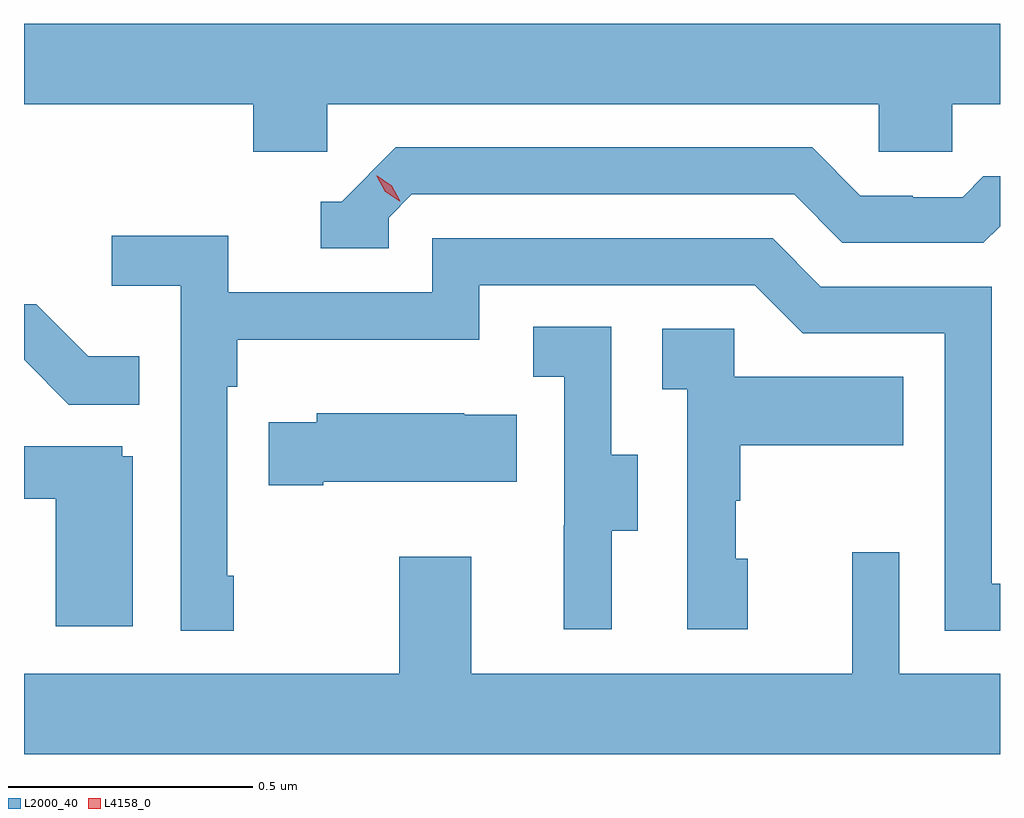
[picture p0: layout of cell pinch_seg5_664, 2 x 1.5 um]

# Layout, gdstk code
import gdstk
lib = gdstk.Library(unit=1e-6, precision=1e-09)
def P(c, l, *ps):  # polygons
    for p in ps: c.add(gdstk.Polygon(p, *l))
L2000_40 = (2000, 40)
L4158_0 = (4158, 0)

pinch_seg5_664 = lib.new_cell('pinch_seg5_664')
P(pinch_seg5_664, L2000_40, [(1067.664,847.436),(1068.795,847.436),(1068.795,847.338),(1068.945,847.338),(1068.945,847.436),(1069.043,847.436),(1069.043,847.6),(1067.043,847.6),(1067.043,847.436),(1067.513,847.436),(1067.513,847.338),(1067.664,847.338)],
  [(1067.79,847.203),(1067.838,847.251),(1068.621,847.251),(1068.72,847.152),(1069.009,847.152),(1069.043,847.186),(1069.043,847.288),(1069.009,847.288),(1068.967,847.245),(1068.864,847.245),(1068.864,847.248),(1068.757,847.248),(1068.658,847.347),(1067.805,847.347),(1067.694,847.236),(1067.651,847.236),(1067.651,847.14),(1067.79,847.14)],
  [(1067.473,846.469),(1067.46,846.469),(1067.46,846.857),(1067.48,846.857),(1067.48,846.953),(1067.976,846.953),(1067.976,847.065),(1068.54,847.065),(1068.639,846.966),(1068.93,846.966),(1068.93,846.357),(1069.043,846.357),(1069.043,846.453),(1069.026,846.453),(1069.026,847.062),(1068.676,847.062),(1068.577,847.161),(1067.88,847.161),(1067.88,847.05),(1067.462,847.05),(1067.462,847.166),(1067.223,847.166),(1067.223,847.064),(1067.364,847.064),(1067.364,846.357),(1067.473,846.357)],
  [(1067.279,846.919),(1067.175,846.919),(1067.068,847.026),(1067.043,847.026),(1067.043,846.912),(1067.135,846.82),(1067.279,846.82)],
  [(1068.247,846.562),(1068.301,846.562),(1068.301,846.717),(1068.246,846.717),(1068.246,846.98),(1068.087,846.98),(1068.087,846.877),(1068.15,846.877),(1068.15,846.573),(1068.149,846.573),(1068.149,846.36),(1068.247,846.36)],
  [(1068.526,846.504),(1068.501,846.504),(1068.501,846.623),(1068.511,846.623),(1068.511,846.737),(1068.845,846.737),(1068.845,846.877),(1068.498,846.877),(1068.498,846.975),(1068.351,846.975),(1068.351,846.851),(1068.402,846.851),(1068.402,846.36),(1068.526,846.36)],
  [(1067.656,846.662),(1068.053,846.662),(1068.053,846.799),(1067.945,846.799),(1067.945,846.802),(1067.643,846.802),(1067.643,846.784),(1067.545,846.784),(1067.545,846.655),(1067.656,846.655)],
  [(1067.266,846.714),(1067.244,846.714),(1067.244,846.735),(1067.043,846.735),(1067.043,846.627),(1067.108,846.627),(1067.108,846.366),(1067.266,846.366)],
  [(1069.043,846.268),(1068.837,846.268),(1068.837,846.517),(1068.74,846.517),(1068.74,846.268),(1067.959,846.268),(1067.959,846.508),(1067.812,846.508),(1067.812,846.268),(1067.043,846.268),(1067.043,846.104),(1069.043,846.104)])
P(pinch_seg5_664, L4158_0, [(1067.813,847.237),(1067.783,847.256),(1067.766,847.288),(1067.766,847.289),(1067.767,847.289),(1067.797,847.269),(1067.814,847.237),(1067.814,847.237)])

lib.write_gds('pinch_seg5_664.gds')
